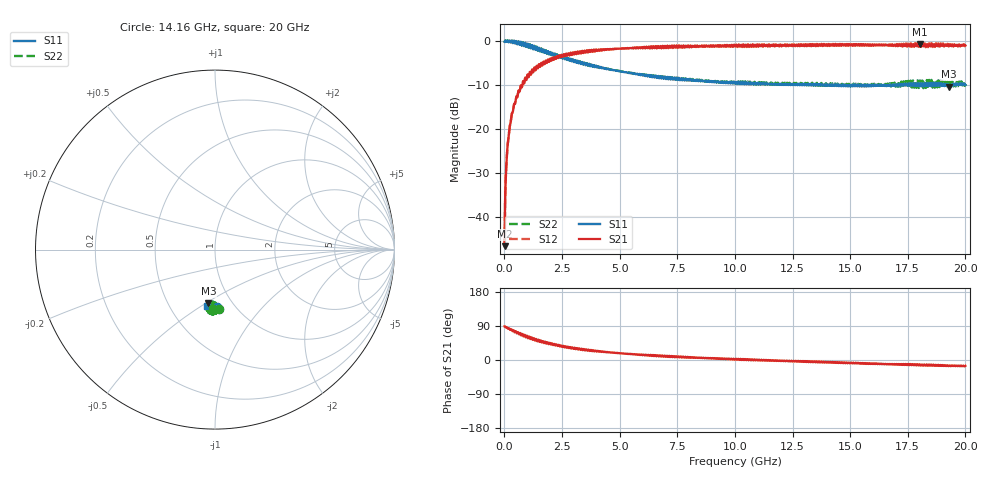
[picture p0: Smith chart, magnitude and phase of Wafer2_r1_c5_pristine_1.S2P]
!  2-Port S-parameters saved by WinCal
! VAR MeasName=S-Parameters (CALIBRATED_DATA) read from VNA (P5004A)
! VAR MeasDate=26/04/2024 17:46:14
! VAR NAME=Wafer2_r1_c5_pristine
! VAR FILENAME=Wafer2_r1_c5_pristine_1.S2P
! VAR DATE=26/04/2024 17:46:15
! VAR PHYS_PORTS=1,2
! VAR ObjTypeName=DATASET
! VAR IndexType=Frequency
# Hz S MA R 50
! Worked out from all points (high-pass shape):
!   1999 points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, 10.01 MHz to 20 GHz, reference 50 ohm
!   highest |S21| = -0.67 dB at 18.04 GHz (marker M1); lowest = -46.6 dB at 10.01 MHz (marker M2)
!   |S21| within 3 dB of the highest: 2.35 GHz to 2.424 GHz (73.91 MHz wide, 3.1 % of centre); 2.434 GHz to end of sweep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
!   lowest |S11| = -10.4 dB at 19.29 GHz (marker M3), VSWR 1.87, Z = 39 - j25.8 ohm
!   |S11| at or under -10 dB: 14.88178 GHz to 14.94945 GHz (67.67 MHz wide, 0.454 % of centre); 14.97972 GHz to 15.04875 GHz (69.03 MHz wide, 0.46 % of centre); 15.57995 GHz to 15.64901 GHz (69.06 MHz wide, 0.442 % of centre)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
!   |S22| runs from -10.7 to 0.1 dB; largest |S21 - S12| = 0.038
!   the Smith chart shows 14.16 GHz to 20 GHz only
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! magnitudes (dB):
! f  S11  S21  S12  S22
! 10.01 MHz  -0.2  -46.6  -46.6  -0.2
! 50.03 MHz  0.1  -32.5  -32.6  0.1
! 120.1 MHz  0.1  -25.1  -25.1  0.0
! 160.1 MHz  -0.1  -22.8  -22.8  -0.1
! 210.1 MHz  0.0  -20.4  -20.3  0.0
! 280.1 MHz  -0.3  -18.2  -18.2  -0.3
! 380.2 MHz  -0.4  -15.7  -15.6  -0.4
! 500.3 MHz  -0.1  -13.1  -13.1  -0.2
! 660.3 MHz  -0.9  -11.5  -11.5  -0.8
! 850.4 MHz  -1.1  -9.6  -9.6  -1.1
! 1.051 GHz  -1.5  -8.2  -8.2  -1.5
! 1.551 GHz  -2.3  -5.8  -5.8  -2.3
! 2.331 GHz  -3.6  -3.9  -3.9  -3.6
! 3.342 GHz  -5.1  -2.6  -2.6  -5.0
! 4.802 GHz  -6.7  -1.8  -1.8  -6.6
! 6.673 GHz  -7.9  -1.1  -1.2  -8.1
! 10.01 GHz  -9.7  -1.2  -1.3  -9.6
! 13.35 GHz  -9.8  -0.9  -0.8  -9.5
! 16.68 GHz  -10.1  -0.9  -1.0  -10.3
! 18.04 GHz  -9.7  -0.7  -0.6  -9.2
! 19.29 GHz  -10.4  -1.1  -1.1  -10.4
! 20 GHz  -10.0  -1.0  -0.9  -9.8
